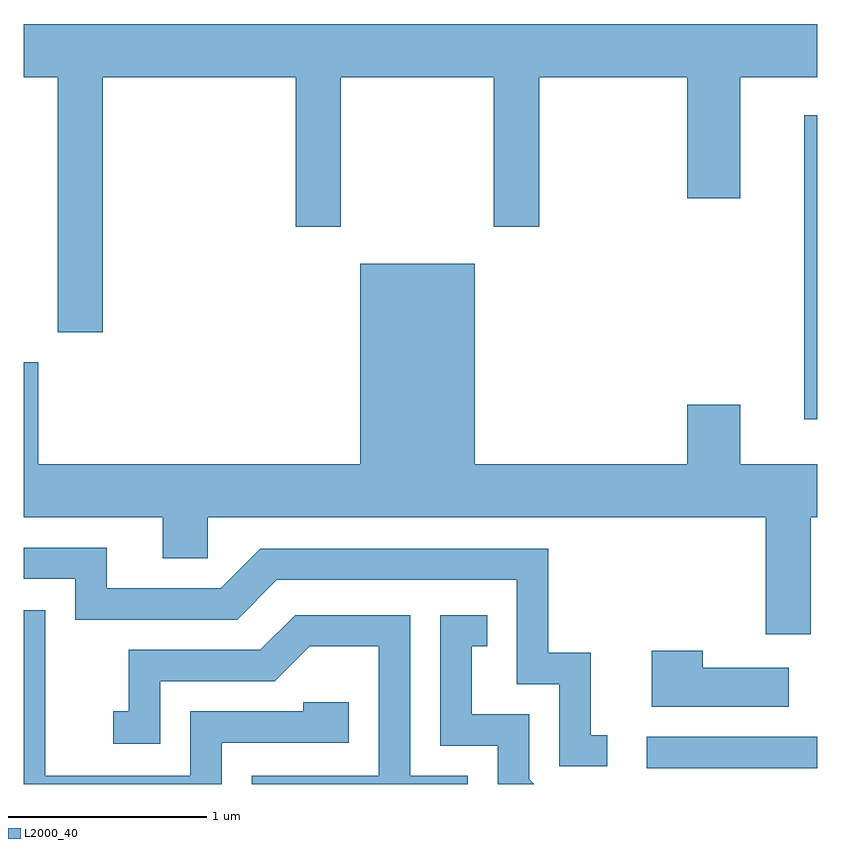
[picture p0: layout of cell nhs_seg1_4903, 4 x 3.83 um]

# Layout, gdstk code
import gdstk
lib = gdstk.Library(unit=1e-6, precision=1e-09)
def R(c, l, rs):  # rectangles x0, y0, x1, y1
    for r in rs: c.add(gdstk.rectangle(r[:2], r[2:], *l))
def P(c, l, *ps):  # polygons
    for p in ps: c.add(gdstk.Polygon(p, *l))
L2000_40 = (2000, 40)

nhs_seg1_4903 = lib.new_cell('nhs_seg1_4903')
R(nhs_seg1_4903, L2000_40, [(334.753,973.791,335.611,973.949), (335.546,975.551,335.611,977.084)])
P(nhs_seg1_4903, L2000_40, [(332.009,977.276),(332.981,977.276),(332.981,976.521),(333.209,976.521),(333.209,977.276),(333.981,977.276),(333.981,976.521),(334.209,976.521),(334.209,977.276),(334.956,977.276),(334.956,976.666),(335.224,976.666),(335.224,977.276),(335.611,977.276),(335.611,977.544),(331.611,977.544),(331.611,977.276),(331.781,977.276),(331.781,975.991),(332.009,975.991)],
  [(335.579,975.056),(335.611,975.056),(335.611,975.324),(335.224,975.324),(335.224,975.624),(334.956,975.624),(334.956,975.324),(333.884,975.324),(333.884,976.334),(333.306,976.334),(333.306,975.324),(331.684,975.324),(331.684,975.839),(331.611,975.839),(331.611,975.056),(332.311,975.056),(332.311,974.851),(332.539,974.851),(332.539,975.056),(335.351,975.056),(335.351,974.466),(335.579,974.466)],
  [(334.553,973.959),(334.469,973.959),(334.469,974.374),(334.254,974.374),(334.254,974.899),(332.804,974.899),(332.604,974.699),(332.029,974.699),(332.029,974.904),(331.611,974.904),(331.611,974.746),(331.871,974.746),(331.871,974.541),(332.687,974.541),(332.887,974.741),(334.096,974.741),(334.096,974.216),(334.311,974.216),(334.311,973.801),(334.553,973.801)],
  [(332.609,973.921),(333.249,973.921),(333.249,974.124),(333.021,974.124),(333.021,974.079),(332.451,974.079),(332.451,973.754),(331.719,973.754),(331.719,974.589),(331.611,974.589),(331.611,973.712),(332.609,973.712)],
  [(333.849,973.754),(333.559,973.754),(333.559,974.564),(332.979,974.564),(332.804,974.389),(332.141,974.389),(332.141,974.079),(332.063,974.079),(332.063,973.916),(332.299,973.916),(332.299,974.231),(332.877,974.231),(333.052,974.406),(333.401,974.406),(333.401,973.754),(332.761,973.754),(332.761,973.712),(333.849,973.712)],
  [(334.159,973.737),(334.159,974.064),(333.869,974.064),(333.869,974.406),(333.948,974.406),(333.948,974.564),(333.711,974.564),(333.711,973.906),(334.001,973.906),(334.001,973.712),(334.184,973.712)],
  [(335.469,974.299),(335.034,974.299),(335.034,974.384),(334.776,974.384),(334.776,974.101),(335.469,974.101)])

lib.write_gds('nhs_seg1_4903.gds')
